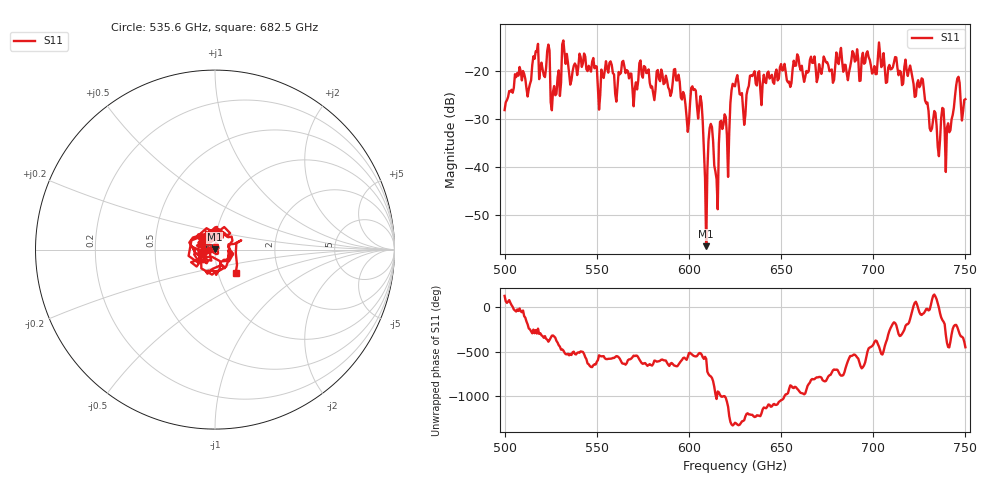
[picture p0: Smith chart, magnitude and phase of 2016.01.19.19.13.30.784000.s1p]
!Created with skrf (http://scikit-rf.org).
# GHz S RI R 50.0
!freq ReS11 ImS11
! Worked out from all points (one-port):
!   401 points, 500 GHz to 750 GHz, reference 50 ohm
!   lowest |S11| = -56.5 dB at 609.4 GHz (marker M1), VSWR 1.00, Z = 49.9 + j0.0966 ohm
!   |S11| at or under -10 dB: start of sweep to end of sweep
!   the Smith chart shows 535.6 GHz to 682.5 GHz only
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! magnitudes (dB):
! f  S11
! 500 GHz  -28.2
! 506.9 GHz  -20.5
! 513.1 GHz  -23.8
! 516.9 GHz  -15.9
! 523.1 GHz  -15.8
! 526.2 GHz  -24.4
! 531.2 GHz  -14.5
! 551.9 GHz  -25.0
! 562.5 GHz  -20.7
! 593.8 GHz  -22.0
! 598.8 GHz  -29.7
! 602.5 GHz  -24.0
! 606.2 GHz  -25.3
! 609.4 GHz  -56.5
! 611.9 GHz  -31.1
! 615 GHz  -42.5
! 618.1 GHz  -32.1
! 621.2 GHz  -42.1
! 625 GHz  -23.2
! 630 GHz  -31.3
! 634.4 GHz  -21.1
! 656.2 GHz  -19.7
! 687.5 GHz  -19.1
! 718.8 GHz  -21.1
! 735.6 GHz  -37.8
! 740.6 GHz  -30.9
! 745.6 GHz  -21.6
! 750 GHz  -25.9
